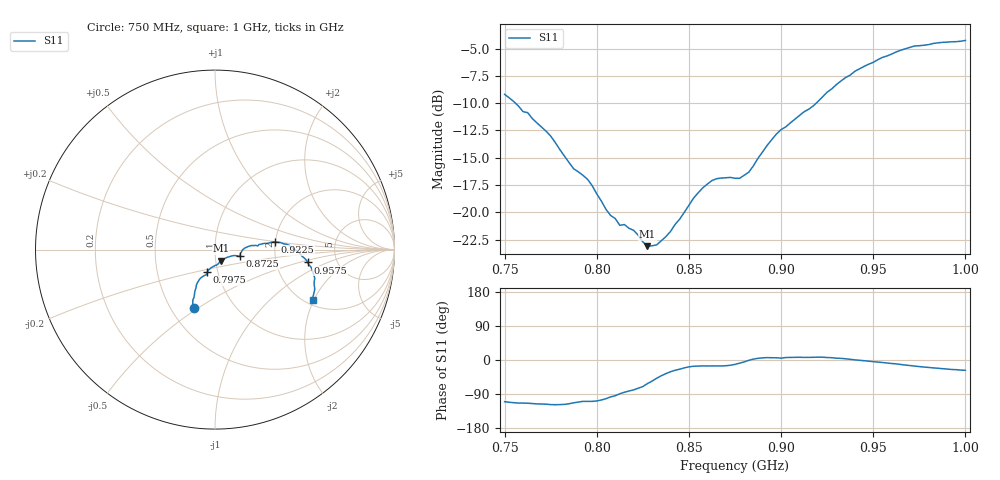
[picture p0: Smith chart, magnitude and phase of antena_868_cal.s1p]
! antena_868_cal
! NanoVNA, 2026-10-25T21:44:36
# HZ S RI R 50
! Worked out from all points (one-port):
!   101 points, 750 MHz to 1 GHz, reference 50 ohm
!   lowest |S11| = -23.1 dB at 827.5 MHz (marker M1), VSWR 1.15, Z = 53 - j6.59 ohm
!   |S11| at or under -10 dB: 755.9 MHz to 919 MHz (163.1 MHz wide, 19.5 % of centre)
!   S11 on the Smith chart (normalised r, x): 750 MHz: 0.65, -0.48; 797.5 MHz: 0.89, -0.23; 872.5 MHz: 1.32, -0.09; 922.5 MHz: 2.00, +0.20; 957.5 MHz: 3.04, -0.60; 1 GHz: 2.19, -1.96
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7.5e8  -0.1185 -0.3262
7.6e8  -0.1163 -0.2649
7.625e8  -0.1163 -0.2616
7.725e8  -0.1052 -0.2105
7.825e8  -0.0825 -0.1608
7.875e8  -0.0617 -0.1458
7.975e8  -0.0435 -0.1252
8.05e8  -0.0217 -0.1009
8.125e8  0.00138 -0.0872
8.15e8  0.00748 -0.0876
8.2e8  0.016 -0.0812
8.275e8  0.0326 -0.0619
8.325e8  0.0473 -0.0528
8.45e8  0.0849 -0.0382
8.525e8  0.1114 -0.0331
8.575e8  0.1247 -0.0348
8.65e8  0.1373 -0.0384
8.725e8  0.1403 -0.0347
8.75e8  0.1403 -0.0287
8.825e8  0.1528 -0.00225
8.975e8  0.2273 0.0232
9.075e8  0.265 0.0325
9.225e8  0.3353 0.0433
9.375e8  0.4251 0.0134
9.575e8  0.5156 -0.0716
9.7e8  0.5514 -0.1448
9.875e8  0.5534 -0.2335
1e9  0.5454 -0.2798
